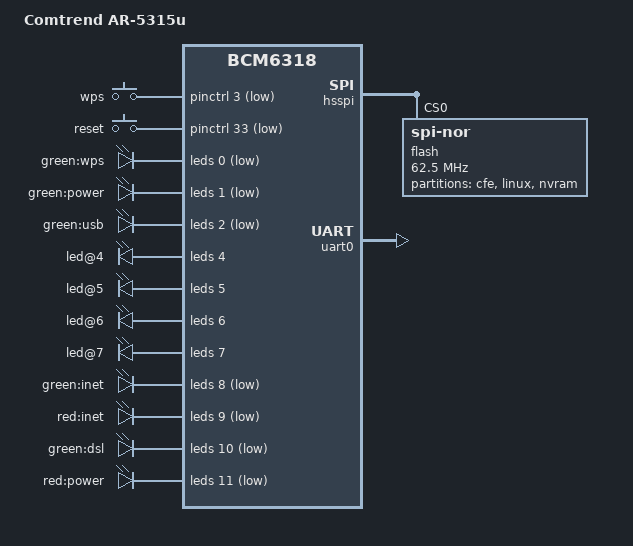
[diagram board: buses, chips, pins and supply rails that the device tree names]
#include "bcm6318.dtsi"

#include <dt-bindings/input/input.h>

/ {
	model = "Comtrend AR-5315u";
	compatible = "comtrend,ar-5315u", "brcm,bcm6318";

	aliases {
		led-boot = &led_power_green;
		led-failsafe = &led_power_green;
		led-running = &led_power_green;
		led-upgrade = &led_power_green;
	};

	chosen {
		bootargs = "rootfstype=squashfs,jffs2 noinitrd console=ttyS0,115200";
		stdout-path = "serial0:115200n8";
	};

	keys {
		compatible = "gpio-keys-polled";
		#address-cells = <1>;
		#size-cells = <0>;
		poll-interval = <20>;

		wps {
			label = "wps";
			gpios = <&pinctrl 3 1>;
			linux,code = <KEY_WPS_BUTTON>;
			debounce-interval = <60>;
		};

		reset {
			label = "reset";
			gpios = <&pinctrl 33 1>;
			linux,code = <KEY_RESTART>;
			debounce-interval = <60>;
		};
	};
};

&hsspi {
	status = "okay";

	flash@0 {
		compatible = "jedec,spi-nor";
		spi-max-frequency = <62500000>;
		spi-tx-bus-width = <2>;
		spi-rx-bus-width = <2>;
		reg = <0>;

		#address-cells = <1>;
		#size-cells = <1>;

		partitions {
			compatible = "fixed-partitions";
			#address-cells = <1>;
			#size-cells = <1>;

			cfe@0 {
				reg = <0x000000 0x010000>;
				label = "cfe";
				read-only;
			};

			linux@10000 {
				reg = <0x010000 0xfe0000>;
				label = "linux";
				compatible = "brcm,bcm963xx-imagetag";
			};

			nvram@ff0000 {
				reg = <0xff0000 0x010000>;
				label = "nvram";
			};
		};
	};
};

&leds {
	status = "okay";

	pinctrl-names = "default";
	pinctrl-0 = <&pinctrl_leds
		     &pinctrl_ephy0_act_led &pinctrl_ephy1_act_led
		     &pinctrl_ephy2_act_led &pinctrl_ephy3_act_led>;

	led@0 {
		reg = <0>;
		active-low;
		label = "green:wps";
	};

	led_power_green: led@1 {
		reg = <1>;
		active-low;
		label = "green:power";
		default-state = "on";
	};

	led@2 {
		reg = <2>;
		active-low;
		label = "green:usb";
	};

	led@4 {
		reg = <4>;
		brcm,hardware-controlled;
		brcm,link-signal-sources = <4>;
		/* EPHY0 Act */
	};

	led@5 {
		reg = <5>;
		brcm,hardware-controlled;
		brcm,link-signal-sources = <5>;
		/* EPHY1 Act */
	};

	led@6 {
		reg = <6>;
		brcm,hardware-controlled;
		brcm,link-signal-sources = <6>;
		/* EPHY2 Act */
	};

	led@7 {
		reg = <7>;
		brcm,hardware-controlled;
		brcm,link-signal-sources = <7>;
		/* EPHY3 Act */
	};

	led@8 {
		reg = <8>;
		active-low;
		label = "green:inet";
	};

	led@9 {
		reg = <9>;
		active-low;
		label = "red:inet";
	};

	led@10 {
		reg = <10>;
		active-low;
		label = "green:dsl";
	};

	led@11 {
		reg = <11>;
		active-low;
		label = "red:power";
	};
};

&pinctrl {
	pinctrl_leds: leds {
		function = "led";
		pins = "gpio0", "gpio1",
		       "gpio2", "gpio8",
		       "gpio9", "gpio10",
		       "gpio11";
	};
};

&uart0 {
	status = "okay";
};
